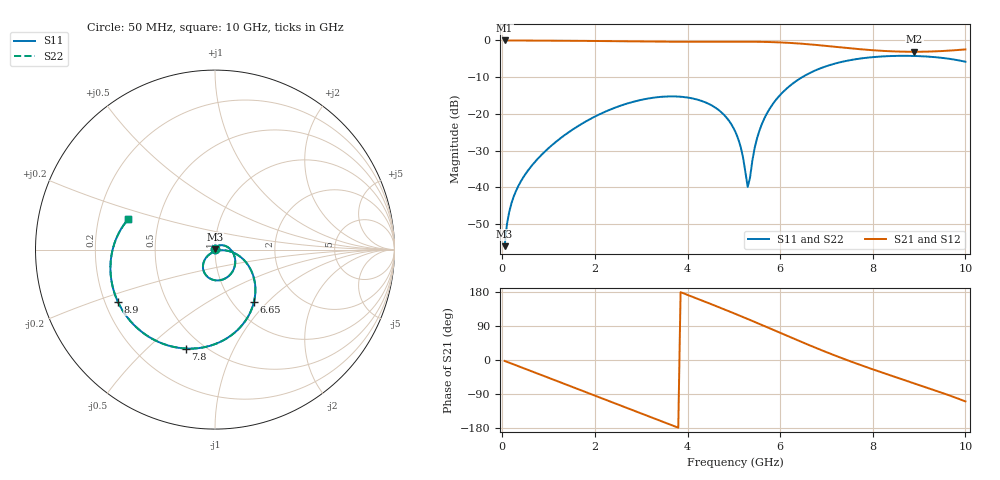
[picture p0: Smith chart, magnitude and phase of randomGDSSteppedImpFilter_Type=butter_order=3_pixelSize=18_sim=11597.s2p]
! freq	dB(S11)	phase(S11)	dB(S12)	phase(S12)
!  dB(S21)	phase(S21)	dB(S22)	phase(S22)
!S-par simulation data
#  GHz  S  DB  R 50
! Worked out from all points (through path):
!   200 points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, 50 MHz to 10 GHz, reference 50 ohm
!   highest |S21| = 0.00 dB at 50 MHz (marker M1); lowest = -3.1 dB at 8.9 GHz (marker M2)
!   group delay of S21, straight-line fit = 133 ps
!   lowest |S11| = -56.0 dB at 50 MHz (marker M3), VSWR 1.00, Z = 50 + j0.157 ohm
!   |S11| at or under -10 dB: start of sweep to 6.477 GHz
!   |S22| runs from -56.1 to -4.2 dB; largest |S21 - S12| = 0
!   S11 on the Smith chart (normalised r, x): 50 MHz: 1.00, +0.00; 6.65 GHz: 1.25, -0.83; 7.8 GHz: 0.41, -0.67; 8.9 GHz: 0.25, -0.24; 10 GHz: 0.33, +0.15
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0.05  -56.05 83.8  -0.00 -2.4  -0.00 -2.4  -56.05 83.9
0.1  -50.11 82.0  -0.01 -4.8  -0.01 -4.8  -50.11 82.0
0.2  -44.28 77.1  -0.02 -9.5  -0.02 -9.5  -44.29 77.2
0.45  -37.37 66.8  -0.03 -21.2  -0.03 -21.2  -37.37 66.9
1.15  -27.71 36.7  -0.07 -54.0  -0.07 -54.0  -27.71 36.8
1.75  -22.46 8.7  -0.12 -82.2  -0.12 -82.2  -22.46 8.8
2.5  -18.01 -26.7  -0.20 -117.5  -0.20 -117.5  -18.01 -26.6
3.4  -15.40 -68.7  -0.33 -159.8  -0.33 -159.8  -15.40 -68.6
3.95  -15.47 -94.1  -0.37 174.2  -0.37 174.2  -15.47 -93.9
4.45  -17.23 -116.8  -0.37 150.3  -0.37 150.3  -17.23 -116.6
5.05  -25.39 -139.6  -0.34 120.8  -0.34 120.8  -25.38 -139.1
5.2  -31.96 -135.1  -0.34 113.3  -0.34 113.3  -31.90 -134.0
5.3  -39.92 -82.2  -0.34 108.2  -0.34 108.2  -39.52 -81.6
5.5  -26.69 -4.4  -0.36 97.9  -0.36 97.9  -26.67 -4.9
5.7  -20.22 -8.3  -0.41 87.5  -0.41 87.5  -20.22 -8.6
6.1  -13.58 -26.1  -0.60 66.5  -0.60 66.5  -13.58 -26.2
6.65  -8.81 -53.2  -1.08 38.1  -1.08 38.1  -8.81 -53.2
6.7  -8.51 -55.6  -1.14 35.5  -1.14 35.5  -8.51 -55.6
7.8  -4.82 -106.3  -2.47 -16.1  -2.47 -16.1  -4.82 -106.3
8.35  -4.27 -129.2  -2.93 -39.2  -2.93 -39.2  -4.27 -129.2
8.9  -4.23 -151.5  -3.09 -61.7  -3.09 -61.7  -4.23 -151.5
10  -5.80 160.7  -2.45 -109.2  -2.45 -109.2  -5.80 160.8
